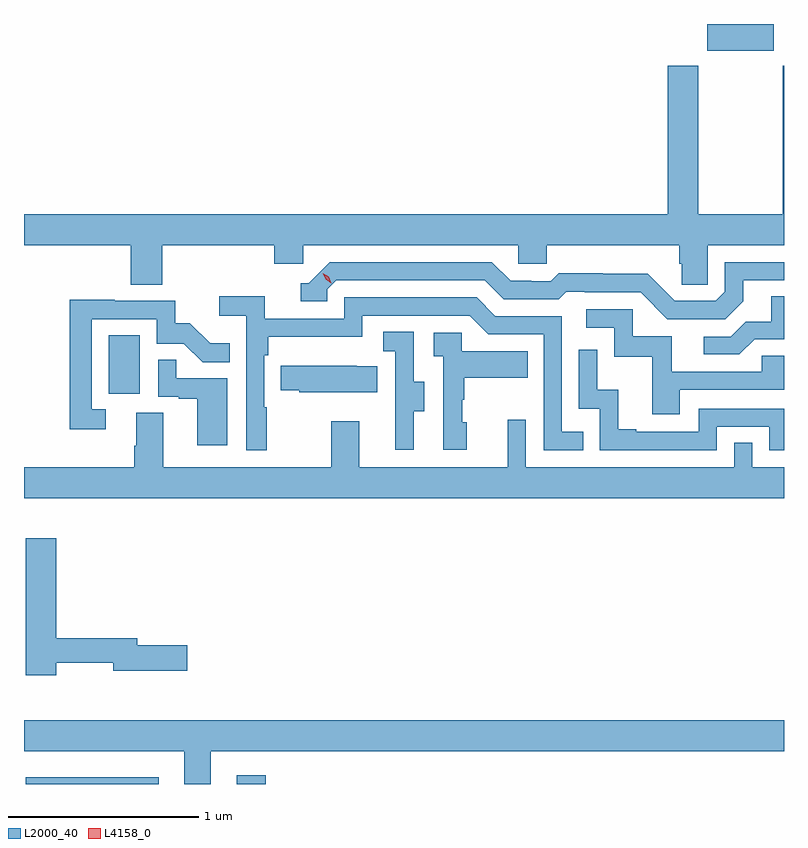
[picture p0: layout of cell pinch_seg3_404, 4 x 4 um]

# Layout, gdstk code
import gdstk
lib = gdstk.Library(unit=1e-6, precision=1e-09)
def R(c, l, rs):  # rectangles x0, y0, x1, y1
    for r in rs: c.add(gdstk.rectangle(r[:2], r[2:], *l))
def P(c, l, *ps):  # polygons
    for p in ps: c.add(gdstk.Polygon(p, *l))
L2000_40 = (2000, 40)
L4158_0 = (4158, 0)

pinch_seg3_404 = lib.new_cell('pinch_seg3_404')
R(pinch_seg3_404, L2000_40, [(903.033,698.08,903.733,698.116), (904.145,698.08,904.298,698.125), (903.47,700.134,903.634,700.441), (906.62,701.939,906.97,702.08)])
P(pinch_seg3_404, L2000_40, [(903.752,700.916),(904.343,700.916),(904.343,700.818),(904.494,700.818),(904.494,700.916),(905.625,700.916),(905.625,700.818),(905.775,700.818),(905.775,700.916),(906.473,700.916),(906.473,700.818),(906.487,700.818),(906.487,700.708),(906.624,700.708),(906.624,700.916),(907.025,700.916),(907.025,701.86),(907.018,701.86),(907.018,701.08),(906.573,701.08),(906.573,701.86),(906.413,701.86),(906.413,701.08),(903.025,701.08),(903.025,700.916),(903.587,700.916),(903.587,700.708),(903.752,700.708)],
  [(906.811,700.621),(906.811,700.731),(907.025,700.731),(907.025,700.827),(906.714,700.827),(906.714,700.671),(906.666,700.623),(906.45,700.623),(906.308,700.765),(906.072,700.765),(906.072,700.768),(905.839,700.768),(905.797,700.725),(905.694,700.725),(905.694,700.728),(905.587,700.728),(905.488,700.827),(904.635,700.827),(904.524,700.716),(904.481,700.716),(904.481,700.62),(904.62,700.62),(904.62,700.683),(904.668,700.731),(905.451,700.731),(905.55,700.632),(905.839,700.632),(905.878,700.671),(905.977,700.671),(905.977,700.668),(906.27,700.668),(906.411,700.527),(906.717,700.527)],
  [(904.303,700.064),(904.29,700.064),(904.29,700.337),(904.31,700.337),(904.31,700.433),(904.806,700.433),(904.806,700.545),(905.37,700.545),(905.469,700.446),(905.76,700.446),(905.76,699.837),(905.969,699.837),(905.969,699.933),(905.856,699.933),(905.856,700.542),(905.506,700.542),(905.407,700.641),(904.71,700.641),(904.71,700.53),(904.292,700.53),(904.292,700.646),(904.053,700.646),(904.053,700.544),(904.194,700.544),(904.194,699.837),(904.303,699.837)],
  [(906.871,700.422),(907.025,700.422),(907.025,700.646),(906.959,700.646),(906.959,700.514),(906.824,700.514),(906.744,700.434),(906.603,700.434),(906.603,700.341),(906.79,700.341)],
  [(903.454,700.053),(903.381,700.053),(903.381,700.527),(903.723,700.527),(903.723,700.398),(903.867,700.398),(903.965,700.3),(904.109,700.3),(904.109,700.399),(904.005,700.399),(903.898,700.506),(903.822,700.506),(903.822,700.623),(903.503,700.623),(903.503,700.628),(903.265,700.628),(903.265,699.948),(903.454,699.948)],
  [(906.475,700.155),(907.025,700.155),(907.025,700.335),(906.907,700.335),(906.907,700.251),(906.433,700.251),(906.433,700.437),(906.228,700.437),(906.228,700.578),(905.985,700.578),(905.985,700.482),(906.132,700.482),(906.132,700.329),(906.331,700.329),(906.331,700.026),(906.475,700.026)],
  [(905.077,700.042),(905.131,700.042),(905.131,700.197),(905.076,700.197),(905.076,700.46),(904.917,700.46),(904.917,700.357),(904.98,700.357),(904.98,700.053),(904.979,700.053),(904.979,699.84),(905.077,699.84)],
  [(905.356,699.984),(905.331,699.984),(905.331,700.103),(905.341,700.103),(905.341,700.217),(905.675,700.217),(905.675,700.357),(905.328,700.357),(905.328,700.455),(905.181,700.455),(905.181,700.331),(905.232,700.331),(905.232,699.84),(905.356,699.84)],
  [(906.672,699.96),(906.948,699.96),(906.948,699.837),(907.025,699.837),(907.025,700.056),(906.576,700.056),(906.576,699.933),(906.247,699.933),(906.247,699.946),(906.152,699.946),(906.152,700.154),(906.042,700.154),(906.042,700.366),(905.946,700.366),(905.946,700.056),(906.054,700.056),(906.054,699.837),(906.672,699.837)],
  [(904.096,700.215),(903.827,700.215),(903.827,700.313),(903.732,700.313),(903.732,700.119),(903.839,700.119),(903.839,700.107),(903.938,700.107),(903.938,699.864),(904.096,699.864)],
  [(904.883,700.279),(904.775,700.279),(904.775,700.282),(904.375,700.282),(904.375,700.153),(904.473,700.153),(904.473,700.142),(904.883,700.142)],
  [(907.025,699.748),(906.858,699.748),(906.858,699.875),(906.762,699.875),(906.762,699.748),(905.667,699.748),(905.667,699.997),(905.57,699.997),(905.57,699.748),(904.789,699.748),(904.789,699.988),(904.642,699.988),(904.642,699.748),(903.757,699.748),(903.757,700.034),(903.617,700.034),(903.617,699.86),(903.605,699.86),(903.605,699.748),(903.025,699.748),(903.025,699.584),(907.025,699.584)],
  [(903.196,698.718),(903.494,698.718),(903.494,698.675),(903.883,698.675),(903.883,698.81),(903.622,698.81),(903.622,698.846),(903.196,698.846),(903.196,699.373),(903.035,699.373),(903.035,698.652),(903.196,698.652)],
  [(904.009,698.252),(907.025,698.252),(907.025,698.416),(903.025,698.416),(903.025,698.252),(903.869,698.252),(903.869,698.08),(904.009,698.08)])
P(pinch_seg3_404, L4158_0, [(904.642,700.716),(904.612,700.736),(904.597,700.769),(904.597,700.769),(904.598,700.769),(904.628,700.749),(904.643,700.716),(904.643,700.716)])

lib.write_gds('pinch_seg3_404.gds')
